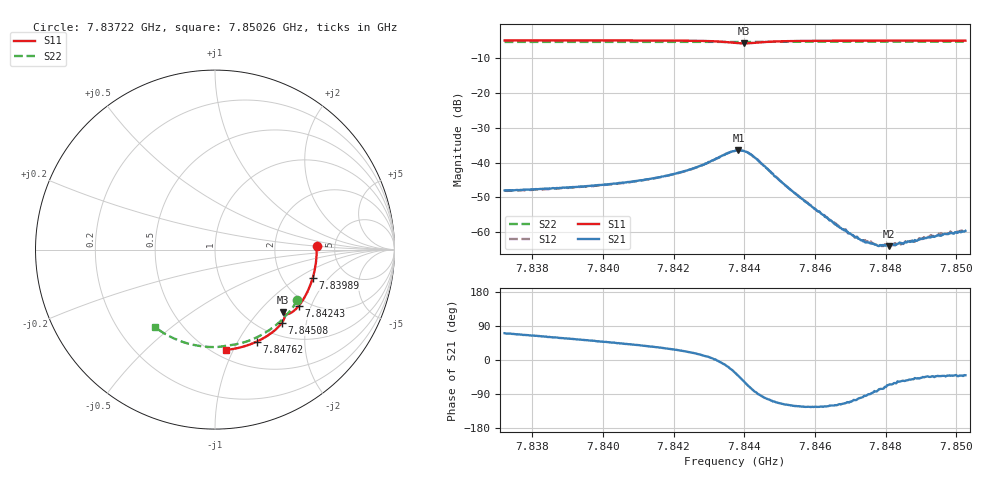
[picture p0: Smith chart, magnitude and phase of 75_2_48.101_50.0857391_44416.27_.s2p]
#  HZ  S  RI  R  50.00
! Rohde & Schwarz Vector Network Analyzer
! Rohde-Schwarz,ZNB20-2Port,1311601062101988,3.16
! Created: UTC 12/23/2023, 3:42:11 AM
! freq[Hz]  re:S11  im:S11  re:S21  im:S21  re:S12  im:S12  re:S22  im:S22
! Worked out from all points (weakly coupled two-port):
!   401 points, 7.83722 GHz to 7.85026 GHz, reference 50 ohm
!   highest |S21| = -36.42 dB at 7.84384 GHz (marker M1); lowest = -64.0 dB at 7.84811 GHz (marker M2)
!   lowest |S11| = -5.8 dB at 7.844 GHz (marker M3), VSWR 3.12, Z = 72.4 - j68.7 ohm
!   |S11| at or under -10 dB: nowhere
!   |S22| runs from -5.4 to -5.3 dB; largest |S21 - S12| = 0.00027
!   S11 on the Smith chart (normalised r, x): 7.83722 GHz: 3.60, +0.22; 7.83989 GHz: 2.94, -1.35; 7.84243 GHz: 1.79, -1.64; 7.84508 GHz: 1.25, -1.46; 7.84762 GHz: 0.80, -1.20; 7.85026 GHz: 0.57, -0.94
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7.837217e9  0.5661 0.0207  0.00132 0.00375  0.00138 0.00368  0.4594 -0.2833
7.839402e9  0.5533 -0.1241  0.00273 0.00363  0.00271 0.00358  0.3623 -0.4013
7.839891e9  0.5452 -0.1558  0.00309 0.00361  0.00307 0.00356  0.3361 -0.4234
7.841587e9  0.5007 -0.263  0.00516 0.00335  0.0051 0.00334  0.2358 -0.4873
7.842435e9  0.4666 -0.3139  0.00735 0.0028  0.00728 0.00283  0.1808 -0.5102
7.84325e9  0.418 -0.3549  0.0116 -0.000407  0.0116 -0.000484  0.1256 -0.5258
7.843739e9  0.3827 -0.3566  0.0123 -0.00808  0.0123 -0.00805  0.0928 -0.5312
7.843837e9  0.3793 -0.3535  0.0112 -0.0101  0.0112 -0.0101  0.0866 -0.5321
7.844e9  0.3789 -0.3489  0.00789 -0.0123  0.00785 -0.0123  0.0763 -0.5337
7.84413e9  0.3824 -0.3487  0.00476 -0.0128  0.00488 -0.0128  0.0682 -0.5352
7.844359e9  0.3885 -0.3578  0.000576 -0.0112  0.000601 -0.0113  0.0532 -0.538
7.845076e9  0.3739 -0.4063  -0.00222 -0.00464  -0.00223 -0.00465  0.00301 -0.5428
7.845924e9  0.3319 -0.4508  -0.00126 -0.00192  -0.00127 -0.00197  -0.057 -0.5407
7.846641e9  0.2915 -0.4804  -0.000582 -0.00107  -0.000566 -0.00113  -0.1069 -0.5336
7.847e9  0.2703 -0.4931  -0.000322 -0.0009  -0.000307 -0.000888  -0.1317 -0.5283
7.847359e9  0.249 -0.5046  -0.000106 -0.000756  -0.000137 -0.000727  -0.156 -0.5219
7.847619e9  0.2332 -0.5124  3.18e-05 -0.000687  2.41e-05 -0.000682  -0.1735 -0.5165
7.84788e9  0.2172 -0.5193  0.000155 -0.000627  0.000143 -0.000617  -0.1908 -0.5106
7.848109e9  0.2029 -0.5251  0.000272 -0.000567  0.000264 -0.000603  -0.2057 -0.5047
7.848826e9  0.1574 -0.5406  0.000519 -0.00057  0.000456 -0.000565  -0.2514 -0.4841
7.849576e9  0.1087 -0.5522  0.000658 -0.000601  0.000717 -0.000653  -0.2974 -0.4579
7.850261e9  0.0636 -0.5588  0.000794 -0.000673  0.000783 -0.000681  -0.3364 -0.4303
